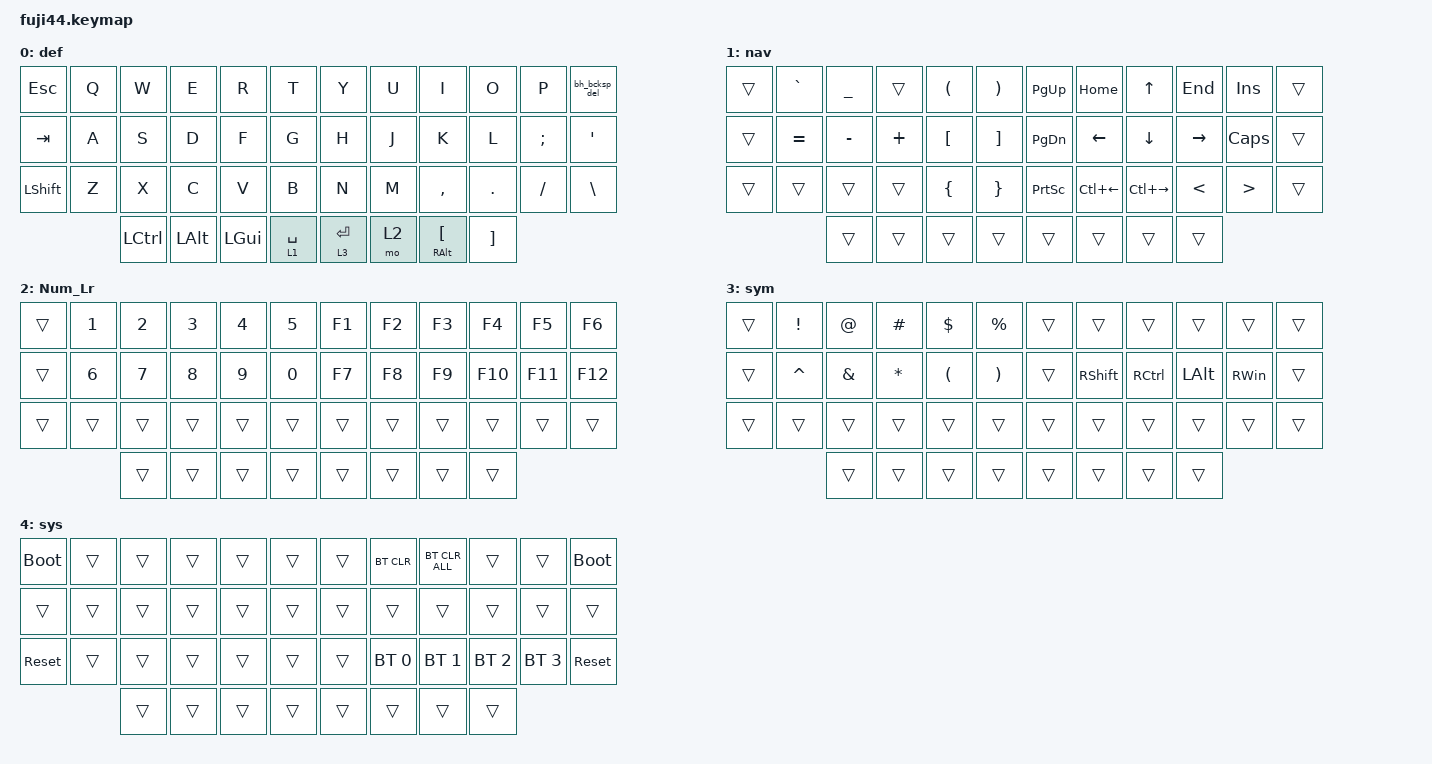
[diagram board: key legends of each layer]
/*
 * Copyright (c) 2020 The ZMK Contributors
 *
 * SPDX-License-Identifier: MIT
 */

#include <behaviors.dtsi>
#include <dt-bindings/zmk/bt.h>
#include <dt-bindings/zmk/keys.h>

/ {
    combos {
        compatible = "zmk,combos";

        combo_esc {
            timeout-ms = <50>;
            key-positions = <0 1>;
            bindings = <&kp ESC>;
        };

        ru_en {
            bindings = <&kp LC(LA(SPACE))>;
            key-positions = <24 25>;
        };
    };

    behaviors {
        ss_hs_modmorph: ss_hs_modmorph {
            compatible = "zmk,behavior-mod-morph";
            label = "SS_HS_MODMORPH";
            bindings = <&kp M>, <&kp RIGHT_BRACKET>;

            #binding-cells = <0>;
            mods = <(MOD_LSFT|MOD_RSFT)>;
        };

        kh_hs_tapdance: kh_hs_tapdance {
            compatible = "zmk,behavior-tap-dance";
            label = "KH_HS_TAPDANCE";
            #binding-cells = <0>;
            tapping-term-ms = <200>;
            bindings = <&kp LEFT_BRACKET>, <&kp RIGHT_BRACKET>;
        };

        hrm: hrm {
            compatible = "zmk,behavior-hold-tap";
            #binding-cells = <2>;
            flavor = "tap-preferred";
            tapping-term-ms = <200>;
            quick-tap-ms = <200>;
            require-prior-idle-ms = <125>;
            bindings = <&kp>, <&kp>;
        };

        hml: home_row_mod_left {
            compatible = "zmk,behavior-hold-tap";
            label = "HML";
            bindings = <&kp>, <&kp>;

            #binding-cells = <2>;
            tapping-term-ms = <250>;
            quick-tap-ms = <165>;
            require-prior-idle-ms = <130>;
            flavor = "tap-preferred";
            hold-trigger-key-positions = <30 31 32 33 34 35 23 11 10 22 21 9 8 19 7 6 18 20 30 31 32 33 40 41 42 43>;
            hold-trigger-on-release;
        };

        hmr: home_row_mod_right {
            compatible = "zmk,behavior-hold-tap";
            label = "HMR";
            bindings = <&kp>, <&kp>;

            #binding-cells = <2>;
            tapping-term-ms = <250>;
            quick-tap-ms = <165>;
            require-prior-idle-ms = <130>;
            flavor = "tap-preferred";
            hold-trigger-on-release;
            hold-trigger-key-positions = <0 1 2 3 4 5 12 13 14 15 16 17 24 25 26 27 28 29 36 37 38 39>;
        };

        bh_fwslsl_lftbrckt: bh_fwslsl_lftbrckt {
            compatible = "zmk,behavior-mod-morph";
            label = "BH_FWSLSL_LFTBRCKT";
            bindings = <&kp FSLH>, <&kp LEFT_BRACKET>;

            #binding-cells = <0>;
            mods = <(MOD_RALT)>;
        };

        bh_bckslsh_rghtbrckt: bh_bckslsh_rghtbrckt {
            compatible = "zmk,behavior-mod-morph";
            label = "BH_BCKSLSH_RGHTBRCKT";
            bindings = <&kp FSLH>, <&kp RIGHT_BRACKET>;

            #binding-cells = <0>;
            mods = <(MOD_RALT)>;
        };

        bh_bcksp_del: bh_bcksp_del {
            compatible = "zmk,behavior-mod-morph";
            label = "BH_BCKSP_DEL";
            bindings = <&kp BACKSPACE>, <&kp DELETE>;

            #binding-cells = <0>;
            mods = <(MOD_RALT)>;
        };
    };

    keymap {
        compatible = "zmk,keymap";

        def {
            bindings = <
&kp ESC    &kp Q  &kp W             &kp E         &kp R         &kp T          &kp Y        &kp U  &kp I                  &kp O              &kp P     &bh_bcksp_del
&kp TAB    &kp A  &kp S             &kp D         &kp F         &kp G          &kp H        &kp J  &kp K                  &kp L              &kp SEMI  &kp SQT
&kp LSHFT  &kp Z  &kp X             &kp C         &kp V         &kp B          &kp N        &kp M  &kp COMMA              &kp DOT            &kp FSLH  &kp BACKSLASH
                  &kp LEFT_CONTROL  &kp LEFT_ALT  &kp LEFT_GUI  &lt 1 SPACE    &lt 3 ENTER  &mo 2  &mt RALT LEFT_BRACKET  &kp RIGHT_BRACKET
            >;
        };

        nav {
            bindings = <
&trans  &kp GRAVE  &kp UNDERSCORE  &trans    &kp LEFT_PARENTHESIS  &kp RIGHT_PARENTHESIS    &kp PAGE_UP    &kp HOME        &kp UP_ARROW    &kp END    &kp INS       &trans
&trans  &kp EQUAL  &kp MINUS       &kp PLUS  &kp LEFT_BRACKET      &kp RIGHT_BRACKET        &kp PAGE_DOWN  &kp LEFT_ARROW  &kp DOWN_ARROW  &kp RIGHT  &kp CAPSLOCK  &trans
&trans  &trans     &trans          &trans    &kp LEFT_BRACE        &kp RIGHT_BRACE          &kp PSCRN      &kp LC(LEFT)    &kp LC(RIGHT)   &kp LT     &kp GT        &trans
                   &trans          &trans    &trans                &trans                   &trans         &trans          &trans          &trans
            >;
        };

        num {
            bindings = <
&trans  &kp NUMBER_1  &kp NUMBER_2  &kp NUMBER_3  &kp NUMBER_4  &kp NUMBER_5    &kp F1  &kp F2  &kp F3  &kp F4   &kp F5   &kp F6
&trans  &kp N6        &kp NUMBER_7  &kp NUMBER_8  &kp NUMBER_9  &kp NUMBER_0    &kp F7  &kp F8  &kp F9  &kp F10  &kp F11  &kp F12
&trans  &trans        &trans        &trans        &trans        &trans          &trans  &trans  &trans  &trans   &trans   &trans
                      &trans        &trans        &trans        &trans          &trans  &trans  &trans  &trans
            >;

            label = "Num_Lr";
        };

        sym {
            bindings = <
&trans  &kp EXCL   &kp AT_SIGN  &kp HASH  &kp DOLLAR  &kp PERCENT    &trans  &trans      &trans     &trans        &trans         &trans
&trans  &kp CARET  &kp AMPS     &kp STAR  &kp LPAR    &kp RPAR       &trans  &kp RSHIFT  &kp RCTRL  &kp LEFT_ALT  &kp RIGHT_WIN  &trans
&trans  &trans     &trans       &trans    &trans      &trans         &trans  &trans      &trans     &trans        &trans         &trans
                   &trans       &trans    &trans      &trans         &trans  &trans      &trans     &trans
            >;
        };

        sys {
            bindings = <
&bootloader  &trans  &trans  &trans  &trans  &trans    &trans  &bt BT_CLR    &bt BT_CLR_ALL  &trans        &trans        &bootloader
&trans       &trans  &trans  &trans  &trans  &trans    &trans  &trans        &trans          &trans        &trans        &trans
&sys_reset   &trans  &trans  &trans  &trans  &trans    &trans  &bt BT_SEL 0  &bt BT_SEL 1    &bt BT_SEL 2  &bt BT_SEL 3  &sys_reset
                     &trans  &trans  &trans  &trans    &trans  &trans        &trans          &trans
            >;
        };
    };

    conditional_layers {
        compatible = "zmk,conditional-layers";

        sys_lr {
            if-layers = <1 2>;
            then-layer = <4>;
        };
    };
};
